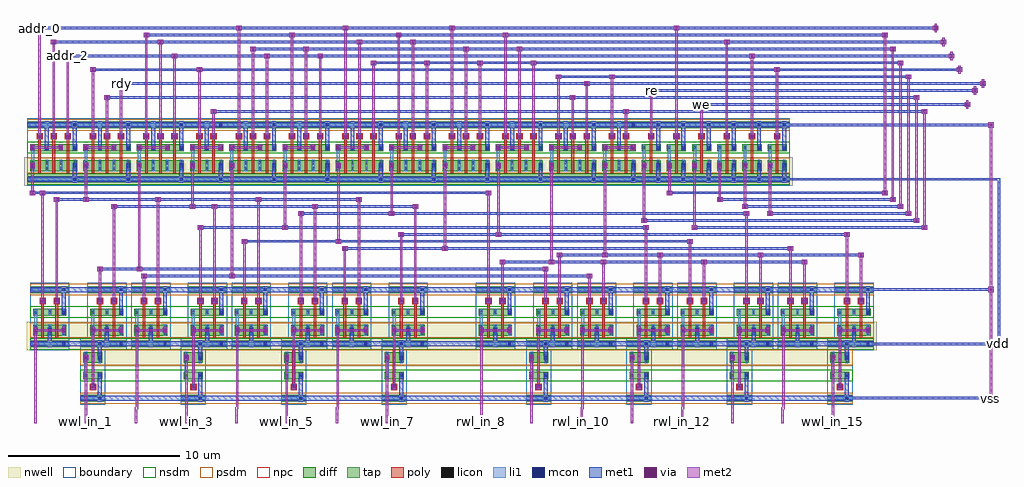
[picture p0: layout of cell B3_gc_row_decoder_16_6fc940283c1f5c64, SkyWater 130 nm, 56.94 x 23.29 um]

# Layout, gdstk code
from math import pi, radians
import gdstk
lib = gdstk.Library(unit=1e-6, precision=1e-09)
def R(c, l, rs):  # rectangles x0, y0, x1, y1
    for r in rs: c.add(gdstk.rectangle(r[:2], r[2:], *l))
def A(c, l, x, y, w, h, nx, ny, dx, dy):  # array of equal rectangles
    R(c, l, [(x+i*dx, y+j*dy, x+i*dx+w, y+j*dy+h) for i in range(nx) for j in range(ny)])
nwell = (64, 20)
diff = (65, 20)
tap = (65, 44)
poly = (66, 20)
licon = (66, 44)
li1 = (67, 20)
mcon = (67, 44)
met1 = (68, 20)
via = (68, 44)
met2 = (69, 20)
nsdm = (93, 44)
psdm = (94, 20)
npc = (95, 20)
boundary = (235, 4)

b3_gc_std_inv_6575c8c08e = lib.new_cell('B3_gc_std_inv_6575c8c08eee_t_core')
R(b3_gc_std_inv_6575c8c08e, nwell, [(0,-0.18,1.68,1.29)])
R(b3_gc_std_inv_6575c8c08e, diff, [(0.86,0,1.5,1.11), (2.02,0,2.44,1.11)])
R(b3_gc_std_inv_6575c8c08e, tap, [(0.18,-0.18,0.59,1.29), (3.35,-0.18,3.76,1.29)])
R(b3_gc_std_inv_6575c8c08e, poly, [(2.73,0.39,3.06,0.72), (0.73,0.48,1.63,0.63), (0.86,0.48,2.895,0.63), (1.89,0.48,2.57,0.63)])
R(b3_gc_std_inv_6575c8c08e, licon, [(0.3,0.06,0.47,0.23), (0.925,0.06,1.095,0.23), (1.265,0.06,1.435,0.23), (2.145,0.06,2.315,0.23), (3.47,0.06,3.64,0.23), (2.81,0.47,2.98,0.64), (0.925,0.88,1.095,1.05), (1.265,0.88,1.435,1.05), (2.145,0.88,2.315,1.05)])
R(b3_gc_std_inv_6575c8c08e, li1, [(0.3,-0.18,0.47,1.29), (3.47,-0.18,3.64,1.29), (0.845,0.06,1.515,0.23), (2.065,0.06,2.395,0.23), (2.73,0.47,3.06,0.64), (2.73,0.47,3.06,0.64), (0.845,0.88,2.395,1.05), (0.845,0.88,1.515,1.05), (1.015,0.88,1.345,1.05), (2.065,0.88,2.395,1.05)])
R(b3_gc_std_inv_6575c8c08e, mcon, [(0.3,0.06,0.47,0.23), (1.095,0.06,1.265,0.23), (2.145,0.06,2.315,0.23), (3.47,0.06,3.64,0.23), (2.81,0.47,2.98,0.64), (1.095,0.88,1.265,1.05)])
R(b3_gc_std_inv_6575c8c08e, met1, [(0.24,-0.18,0.53,1.29), (3.41,-0.18,3.7,1.29), (0.24,0,0.53,0.29), (3.41,0,3.7,0.29), (0.18,0.03,1.325,0.26), (1.035,0.03,1.325,0.26), (2.085,0.03,3.76,0.26), (2.085,0.03,2.375,0.26), (2.735,0.425,3.055,0.685), (1.02,0.835,1.34,1.095)])
R(b3_gc_std_inv_6575c8c08e, via, [(2.82,0.48,2.97,0.63), (1.105,0.89,1.255,1.04)])
R(b3_gc_std_inv_6575c8c08e, met2, [(2.735,0.425,3.055,0.685), (1.02,0.835,1.34,1.095)])
R(b3_gc_std_inv_6575c8c08e, nsdm, [(0.055,-0.18,0.715,1.29), (1.895,-0.18,2.565,1.29)])
R(b3_gc_std_inv_6575c8c08e, psdm, [(0.735,-0.18,1.625,1.29), (3.225,-0.18,3.885,1.29)])
R(b3_gc_std_inv_6575c8c08e, npc, [(2.71,0.37,3.08,0.74)])
R(b3_gc_std_inv_6575c8c08e, boundary, [(0,-0.18,3.94,1.29)])
b3_gc_std_inv_6575c8c08e.add(gdstk.Label('vss', (3.555,0.145), layer=68, texttype=5))
b3_gc_std_inv_6575c8c08e.add(gdstk.Label('vdd', (0.385,0.145), layer=68, texttype=5))
b3_gc_std_inv_6575c8c08e.add(gdstk.Label('a', (2.895,0.555), layer=69, texttype=5))
b3_gc_std_inv_6575c8c08e.add(gdstk.Label('y', (1.18,0.965), layer=69, texttype=5))

c_b3_gc_std_inv_6575c8c08e = lib.new_cell('B3_gc_std_inv_6575c8c08eee_t')
c_b3_gc_std_inv_6575c8c08e.add(gdstk.Reference(b3_gc_std_inv_6575c8c08e, (1.29,0), rotation=pi/2))

b3_gc_std_nor2_6575c8c08 = lib.new_cell('B3_gc_std_nor2_6575c8c08eee_t_core')
R(b3_gc_std_nor2_6575c8c08, nwell, [(0,-0.18,1.68,2.11)])
R(b3_gc_std_nor2_6575c8c08, diff, [(0.86,0,1.5,1.93), (2.02,0,2.44,1.93)])
R(b3_gc_std_nor2_6575c8c08, tap, [(0.18,-0.18,0.59,2.11), (3.35,-0.18,3.76,2.11)])
R(b3_gc_std_nor2_6575c8c08, poly, [(2.73,0.39,3.06,0.72), (0.73,0.48,1.63,0.63), (0.86,0.48,2.895,0.63), (1.89,0.48,2.57,0.63), (2.73,1.21,3.06,1.54), (0.73,1.3,1.63,1.45), (0.86,1.3,2.895,1.45), (1.89,1.3,2.57,1.45)])
A(b3_gc_std_nor2_6575c8c08, licon, 0.925, 0.06, 0.17, 0.17, 1, 3, 0, 0.82)
A(b3_gc_std_nor2_6575c8c08, licon, 1.265, 0.06, 0.17, 0.17, 1, 3, 0, 0.82)
A(b3_gc_std_nor2_6575c8c08, licon, 2.145, 0.06, 0.17, 0.17, 1, 3, 0, 0.82)
R(b3_gc_std_nor2_6575c8c08, licon, [(0.3,0.06,0.47,0.23), (3.47,0.06,3.64,0.23), (2.81,0.47,2.98,0.64), (2.81,1.29,2.98,1.46)])
A(b3_gc_std_nor2_6575c8c08, li1, 0.845, 0.06, 0.67, 0.17, 1, 3, 0, 0.82)
A(b3_gc_std_nor2_6575c8c08, li1, 2.065, 0.06, 0.33, 0.17, 1, 3, 0, 0.82)
R(b3_gc_std_nor2_6575c8c08, li1, [(0.3,-0.18,0.47,2.11), (3.47,-0.18,3.64,2.11), (2.065,0.06,2.395,0.23), (2.73,0.47,3.06,0.64), (2.73,0.47,3.06,0.64), (2.73,1.29,3.06,1.46), (2.73,1.29,3.06,1.46), (0.845,1.7,2.395,1.87), (1.015,1.7,1.345,1.87), (2.065,1.7,2.395,1.87)])
A(b3_gc_std_nor2_6575c8c08, mcon, 2.145, 0.06, 0.17, 0.17, 1, 3, 0, 0.82)
R(b3_gc_std_nor2_6575c8c08, mcon, [(0.3,0.06,0.47,0.23), (1.095,0.06,1.265,0.23), (3.47,0.06,3.64,0.23), (2.81,0.47,2.98,0.64), (2.81,1.29,2.98,1.46), (1.095,1.7,1.265,1.87)])
R(b3_gc_std_nor2_6575c8c08, met1, [(0.24,-0.18,0.53,2.11), (3.41,-0.18,3.7,2.11), (0.24,0,0.53,0.29), (3.41,0,3.7,0.29), (2.07,0.015,2.39,0.275), (0.18,0.03,1.325,0.26), (1.035,0.03,1.325,0.26), (2.735,0.425,3.055,0.685), (2.085,0.85,3.76,1.08), (2.085,0.85,2.375,1.08), (2.735,1.245,3.055,1.505), (1.02,1.655,1.34,1.915), (2.07,1.655,2.39,1.915)])
R(b3_gc_std_nor2_6575c8c08, via, [(2.155,0.07,2.305,0.22), (2.82,0.48,2.97,0.63), (2.82,1.3,2.97,1.45), (1.105,1.71,1.255,1.86), (2.155,1.71,2.305,1.86)])
R(b3_gc_std_nor2_6575c8c08, met2, [(2.07,0.015,2.39,0.275), (2.16,0.145,2.3,1.785), (2.735,0.425,3.055,0.685), (2.735,1.245,3.055,1.505), (1.02,1.655,1.34,1.915), (2.07,1.655,2.39,1.915)])
R(b3_gc_std_nor2_6575c8c08, nsdm, [(0.055,-0.18,0.715,2.11), (1.895,-0.18,2.565,2.11)])
R(b3_gc_std_nor2_6575c8c08, psdm, [(0.735,-0.18,1.625,2.11), (3.225,-0.18,3.885,2.11)])
R(b3_gc_std_nor2_6575c8c08, npc, [(2.71,0.37,3.08,0.74), (2.71,1.19,3.08,1.56)])
R(b3_gc_std_nor2_6575c8c08, boundary, [(0,-0.18,3.94,2.11)])
b3_gc_std_nor2_6575c8c08.add(gdstk.Label('vss', (3.555,0.145), layer=68, texttype=5))
b3_gc_std_nor2_6575c8c08.add(gdstk.Label('vdd', (0.385,0.145), layer=68, texttype=5))
b3_gc_std_nor2_6575c8c08.add(gdstk.Label('a', (2.895,1.375), layer=69, texttype=5))
b3_gc_std_nor2_6575c8c08.add(gdstk.Label('b', (2.895,0.555), layer=69, texttype=5))
b3_gc_std_nor2_6575c8c08.add(gdstk.Label('y', (1.18,1.785), layer=69, texttype=5))

c_b3_gc_std_nor2_6575c8c08 = lib.new_cell('B3_gc_std_nor2_6575c8c08eee_t')
c_b3_gc_std_nor2_6575c8c08.add(gdstk.Reference(b3_gc_std_nor2_6575c8c08, (2.11,0), rotation=pi/2))

b3_gc_std_nor3_6575c8c08 = lib.new_cell('B3_gc_std_nor3_6575c8c08eee_t_core')
R(b3_gc_std_nor3_6575c8c08, nwell, [(0,-0.18,1.68,2.93)])
R(b3_gc_std_nor3_6575c8c08, diff, [(0.86,0,1.5,2.75), (2.02,0,2.44,2.75)])
R(b3_gc_std_nor3_6575c8c08, tap, [(0.18,-0.18,0.59,2.93), (3.35,-0.18,3.76,2.93)])
A(b3_gc_std_nor3_6575c8c08, poly, 2.73, 0.39, 0.33, 0.33, 1, 3, 0, 0.82)
A(b3_gc_std_nor3_6575c8c08, poly, 0.73, 0.48, 0.9, 0.15, 1, 3, 0, 0.82)
A(b3_gc_std_nor3_6575c8c08, poly, 0.86, 0.48, 2.035, 0.15, 1, 3, 0, 0.82)
A(b3_gc_std_nor3_6575c8c08, poly, 1.89, 0.48, 0.68, 0.15, 1, 3, 0, 0.82)
A(b3_gc_std_nor3_6575c8c08, licon, 0.925, 0.06, 0.17, 0.17, 1, 4, 0, 0.82)
A(b3_gc_std_nor3_6575c8c08, licon, 1.265, 0.06, 0.17, 0.17, 1, 4, 0, 0.82)
A(b3_gc_std_nor3_6575c8c08, licon, 2.145, 0.06, 0.17, 0.17, 1, 4, 0, 0.82)
A(b3_gc_std_nor3_6575c8c08, licon, 2.81, 0.47, 0.17, 0.17, 1, 3, 0, 0.82)
R(b3_gc_std_nor3_6575c8c08, licon, [(0.3,0.06,0.47,0.23), (3.47,0.06,3.64,0.23)])
A(b3_gc_std_nor3_6575c8c08, li1, 0.845, 0.06, 0.67, 0.17, 1, 4, 0, 0.82)
A(b3_gc_std_nor3_6575c8c08, li1, 2.065, 0.88, 0.33, 0.17, 1, 3, 0, 0.82)
R(b3_gc_std_nor3_6575c8c08, li1, [(0.3,-0.18,0.47,2.93), (3.47,-0.18,3.64,2.93), (2.065,0.06,2.395,0.23), (2.73,0.47,3.06,0.64), (2.73,0.47,3.06,0.64), (2.065,0.88,2.395,1.05), (2.73,1.29,3.06,1.46), (2.73,1.29,3.06,1.46), (2.73,2.11,3.06,2.28), (2.73,2.11,3.06,2.28), (0.845,2.52,2.395,2.69), (1.015,2.52,1.345,2.69), (2.065,2.52,2.395,2.69)])
A(b3_gc_std_nor3_6575c8c08, mcon, 2.145, 0.06, 0.17, 0.17, 1, 4, 0, 0.82)
A(b3_gc_std_nor3_6575c8c08, mcon, 2.81, 0.47, 0.17, 0.17, 1, 3, 0, 0.82)
R(b3_gc_std_nor3_6575c8c08, mcon, [(0.3,0.06,0.47,0.23), (1.095,0.06,1.265,0.23), (3.47,0.06,3.64,0.23), (1.095,2.52,1.265,2.69)])
A(b3_gc_std_nor3_6575c8c08, met1, 2.735, 0.425, 0.32, 0.26, 1, 3, 0, 0.82)
R(b3_gc_std_nor3_6575c8c08, met1, [(0.24,-0.18,0.53,2.93), (3.41,-0.18,3.7,2.93), (0.24,0,0.53,0.29), (3.41,0,3.7,0.29), (0.18,0.03,1.325,0.26), (1.035,0.03,1.325,0.26), (2.085,0.03,3.76,0.26), (2.085,0.03,2.375,0.26), (2.07,0.835,2.39,1.095), (2.085,1.67,3.76,1.9), (2.085,1.67,2.375,1.9), (1.02,2.475,1.34,2.735), (2.07,2.475,2.39,2.735)])
A(b3_gc_std_nor3_6575c8c08, via, 2.82, 0.48, 0.15, 0.15, 1, 3, 0, 0.82)
R(b3_gc_std_nor3_6575c8c08, via, [(2.155,0.89,2.305,1.04), (1.105,2.53,1.255,2.68), (2.155,2.53,2.305,2.68)])
A(b3_gc_std_nor3_6575c8c08, met2, 2.735, 0.425, 0.32, 0.26, 1, 3, 0, 0.82)
R(b3_gc_std_nor3_6575c8c08, met2, [(2.07,0.835,2.39,1.095), (2.16,0.965,2.3,2.605), (1.02,2.475,1.34,2.735), (2.07,2.475,2.39,2.735)])
R(b3_gc_std_nor3_6575c8c08, nsdm, [(0.055,-0.18,0.715,2.93), (1.895,-0.18,2.565,2.93)])
R(b3_gc_std_nor3_6575c8c08, psdm, [(0.735,-0.18,1.625,2.93), (3.225,-0.18,3.885,2.93)])
A(b3_gc_std_nor3_6575c8c08, npc, 2.71, 0.37, 0.37, 0.37, 1, 3, 0, 0.82)
R(b3_gc_std_nor3_6575c8c08, boundary, [(0,-0.18,3.94,2.93)])
b3_gc_std_nor3_6575c8c08.add(gdstk.Label('vss', (3.555,0.145), layer=68, texttype=5))
b3_gc_std_nor3_6575c8c08.add(gdstk.Label('vdd', (0.385,0.145), layer=68, texttype=5))
b3_gc_std_nor3_6575c8c08.add(gdstk.Label('a', (2.895,2.195), layer=69, texttype=5))
b3_gc_std_nor3_6575c8c08.add(gdstk.Label('c', (2.895,0.555), layer=69, texttype=5))
b3_gc_std_nor3_6575c8c08.add(gdstk.Label('b', (2.895,1.375), layer=69, texttype=5))
b3_gc_std_nor3_6575c8c08.add(gdstk.Label('y', (1.18,2.605), layer=69, texttype=5))

c_b3_gc_std_nor3_6575c8c08 = lib.new_cell('B3_gc_std_nor3_6575c8c08eee_t')
c_b3_gc_std_nor3_6575c8c08.add(gdstk.Reference(b3_gc_std_nor3_6575c8c08, (2.93,0), rotation=pi/2))

b3_gc_std_nand2_6575c8c0 = lib.new_cell('B3_gc_std_nand2_6575c8c08eee_t_core')
R(b3_gc_std_nand2_6575c8c0, nwell, [(0,-0.18,1.68,2.11)])
R(b3_gc_std_nand2_6575c8c0, diff, [(0.86,0,1.5,1.93), (2.02,0,2.44,1.93)])
R(b3_gc_std_nand2_6575c8c0, tap, [(0.18,-0.18,0.59,2.11), (3.35,-0.18,3.76,2.11)])
R(b3_gc_std_nand2_6575c8c0, poly, [(2.73,0.39,3.06,0.72), (0.73,0.48,1.63,0.63), (0.86,0.48,2.895,0.63), (1.89,0.48,2.57,0.63), (2.73,1.21,3.06,1.54), (0.73,1.3,1.63,1.45), (0.86,1.3,2.895,1.45), (1.89,1.3,2.57,1.45)])
A(b3_gc_std_nand2_6575c8c0, licon, 0.925, 0.06, 0.17, 0.17, 1, 3, 0, 0.82)
A(b3_gc_std_nand2_6575c8c0, licon, 1.265, 0.06, 0.17, 0.17, 1, 3, 0, 0.82)
A(b3_gc_std_nand2_6575c8c0, licon, 2.145, 0.06, 0.17, 0.17, 1, 3, 0, 0.82)
R(b3_gc_std_nand2_6575c8c0, licon, [(0.3,0.06,0.47,0.23), (3.47,0.06,3.64,0.23), (2.81,0.47,2.98,0.64), (2.81,1.29,2.98,1.46)])
A(b3_gc_std_nand2_6575c8c0, li1, 0.845, 0.06, 0.67, 0.17, 1, 3, 0, 0.82)
A(b3_gc_std_nand2_6575c8c0, li1, 2.065, 0.06, 0.33, 0.17, 1, 3, 0, 0.82)
R(b3_gc_std_nand2_6575c8c0, li1, [(0.3,-0.18,0.47,2.11), (3.47,-0.18,3.64,2.11), (1.015,0.06,1.345,0.23), (2.73,0.47,3.06,0.64), (2.73,0.47,3.06,0.64), (2.73,1.29,3.06,1.46), (2.73,1.29,3.06,1.46), (0.845,1.7,2.395,1.87), (1.015,1.7,1.345,1.87)])
A(b3_gc_std_nand2_6575c8c0, mcon, 1.095, 0.06, 0.17, 0.17, 1, 3, 0, 0.82)
R(b3_gc_std_nand2_6575c8c0, mcon, [(0.3,0.06,0.47,0.23), (2.145,0.06,2.315,0.23), (3.47,0.06,3.64,0.23), (2.81,0.47,2.98,0.64), (2.81,1.29,2.98,1.46)])
R(b3_gc_std_nand2_6575c8c0, met1, [(0.24,-0.18,0.53,2.11), (3.41,-0.18,3.7,2.11), (0.24,0,0.53,0.29), (3.41,0,3.7,0.29), (1.02,0.015,1.34,0.275), (2.085,0.03,3.76,0.26), (2.085,0.03,2.375,0.26), (2.735,0.425,3.055,0.685), (0.18,0.85,1.325,1.08), (1.035,0.85,1.325,1.08), (2.735,1.245,3.055,1.505), (1.02,1.655,1.34,1.915)])
R(b3_gc_std_nand2_6575c8c0, via, [(1.105,0.07,1.255,0.22), (2.82,0.48,2.97,0.63), (2.82,1.3,2.97,1.45), (1.105,1.71,1.255,1.86)])
R(b3_gc_std_nand2_6575c8c0, met2, [(1.02,0.015,1.34,0.275), (1.11,0.145,1.25,1.785), (2.735,0.425,3.055,0.685), (2.735,1.245,3.055,1.505), (1.02,1.655,1.34,1.915)])
R(b3_gc_std_nand2_6575c8c0, nsdm, [(0.055,-0.18,0.715,2.11), (1.895,-0.18,2.565,2.11)])
R(b3_gc_std_nand2_6575c8c0, psdm, [(0.735,-0.18,1.625,2.11), (3.225,-0.18,3.885,2.11)])
R(b3_gc_std_nand2_6575c8c0, npc, [(2.71,0.37,3.08,0.74), (2.71,1.19,3.08,1.56)])
R(b3_gc_std_nand2_6575c8c0, boundary, [(0,-0.18,3.94,2.11)])
b3_gc_std_nand2_6575c8c0.add(gdstk.Label('vss', (3.555,0.145), layer=68, texttype=5))
b3_gc_std_nand2_6575c8c0.add(gdstk.Label('vdd', (0.385,0.145), layer=68, texttype=5))
b3_gc_std_nand2_6575c8c0.add(gdstk.Label('a', (2.895,1.375), layer=69, texttype=5))
b3_gc_std_nand2_6575c8c0.add(gdstk.Label('b', (2.895,0.555), layer=69, texttype=5))
b3_gc_std_nand2_6575c8c0.add(gdstk.Label('y', (1.18,1.785), layer=69, texttype=5))

c_b3_gc_std_nand2_6575c8c0 = lib.new_cell('B3_gc_std_nand2_6575c8c08eee_t')
c_b3_gc_std_nand2_6575c8c0.add(gdstk.Reference(b3_gc_std_nand2_6575c8c0, (2.11,0), rotation=pi/2))

b3_gc_row_decoder_16_6fc = lib.new_cell('B3_gc_row_decoder_16_6fc940283c1f5c64')
A(b3_gc_row_decoder_16_6fc, nwell, 4.575, 2.66, 4.39, 1.68, 3, 1, 5.86, 0)
A(b3_gc_row_decoder_16_6fc, nwell, 30.58, 2.66, 4.39, 1.68, 3, 1, 5.86, 0)
A(b3_gc_row_decoder_16_6fc, nwell, 5.805, 3.57, 0.275, 1.68, 3, 1, 5.86, 0)
A(b3_gc_row_decoder_16_6fc, nwell, 8.37, 3.57, 1.005, 1.68, 3, 1, 5.86, 0)
A(b3_gc_row_decoder_16_6fc, nwell, 31.81, 3.57, 0.275, 1.68, 3, 1, 5.86, 0)
A(b3_gc_row_decoder_16_6fc, nwell, 34.375, 3.57, 1.005, 1.68, 3, 1, 5.86, 0)
R(b3_gc_row_decoder_16_6fc, nwell, [(22.155,2.66,29.11,4.34), (-0.005,3.57,0.175,5.25), (2.465,3.57,3.515,5.25), (23.385,3.57,26.18,5.25), (28.47,3.57,29.52,5.25), (49.39,3.57,49.57,5.25), (-0.18,13.175,0,14.855), (44.5,13.175,44.68,14.855)])
A(b3_gc_row_decoder_16_6fc, met1, 4.475, 0.64, 4.59, 0.29, 3, 2, 5.86, 3.17)
A(b3_gc_row_decoder_16_6fc, met1, 30.48, 0.64, 4.59, 0.29, 3, 2, 5.86, 3.17)
A(b3_gc_row_decoder_16_6fc, met1, 5.705, 3.81, 0.475, 0.29, 3, 2, 5.86, 3.17)
A(b3_gc_row_decoder_16_6fc, met1, 8.27, 3.81, 1.205, 0.29, 3, 2, 5.86, 3.17)
A(b3_gc_row_decoder_16_6fc, met1, 31.71, 3.81, 0.475, 0.29, 3, 2, 5.86, 3.17)
A(b3_gc_row_decoder_16_6fc, met1, 34.275, 3.81, 1.205, 0.29, 3, 2, 5.86, 3.17)
A(b3_gc_row_decoder_16_6fc, met1, 33.48, 8.59, 0.32, 0.26, 3, 1, 5.86, 0)
A(b3_gc_row_decoder_16_6fc, met1, 36.775, 9, 0.32, 0.26, 3, 1, 5.86, 0)
A(b3_gc_row_decoder_16_6fc, met1, 10.77, 11.835, 0.32, 0.26, 3, 1, 5.86, 0)
A(b3_gc_row_decoder_16_6fc, met1, 7.475, 12.24, 0.32, 0.26, 3, 1, 5.86, 0)
A(b3_gc_row_decoder_16_6fc, met1, 20.055, 20.225, 0.32, 0.26, 4, 1, 3.11, 0)
A(b3_gc_row_decoder_16_6fc, met1, 15.305, 21.84, 0.32, 0.26, 3, 1, 6.22, 0)
A(b3_gc_row_decoder_16_6fc, met1, 12.195, 22.25, 0.32, 0.26, 3, 1, 6.22, 0)
R(b3_gc_row_decoder_16_6fc, met1, [(56.075,0.625,56.395,0.945), (22.055,0.64,29.21,0.93), (47.66,0.715,56.235,0.855), (2.365,3.81,3.615,4.1), (22.055,3.81,29.21,4.1), (23.285,3.81,26.28,4.1), (28.37,3.81,29.62,4.1), (47.66,3.885,56.765,4.025), (48.89,3.885,56.765,4.025), (56.625,3.885,56.765,13.63), (56.075,6.965,56.395,7.285), (2.365,6.98,3.615,7.27), (23.285,6.98,26.28,7.27), (28.37,6.98,29.62,7.27), (48.89,7.055,56.235,7.195), (6.655,7.785,6.975,8.045), (11.785,7.785,12.105,8.045), (32.66,7.785,32.98,8.045), (6.655,7.845,32.98,7.985), (4.09,8.19,4.41,8.45), (6.385,8.19,6.705,8.45), (30.095,8.19,30.415,8.45), (4.09,8.25,30.415,8.39), (27.575,8.59,27.895,8.85), (30.445,8.59,30.765,8.85), (27.575,8.65,45.52,8.79), (30.915,9,31.235,9.26), (33.555,9,33.875,9.26), (30.915,9.06,48.815,9.2), (18.375,9.4,18.695,9.66), (24.225,9.4,24.545,9.66), (44.38,9.4,44.7,9.66), (18.375,9.46,44.7,9.6), (12.515,9.81,12.835,10.07), (18.005,9.81,18.325,10.07), (38.52,9.81,38.84,10.07), (12.515,9.87,38.84,10.01), (21.67,10.21,21.99,10.47), (27.335,10.21,27.655,10.47), (47.675,10.21,47.995,10.47), (21.67,10.27,47.995,10.41), (9.95,10.62,10.27,10.88), (14.895,10.62,15.215,10.88), (35.955,10.62,36.275,10.88), (38.785,10.62,39.105,10.88), (52.19,10.62,52.51,10.88), (9.95,10.68,36.275,10.82), (38.785,10.68,52.51,10.82), (35.845,11.025,36.165,11.285), (51.73,11.025,52.05,11.285), (35.845,11.085,52.05,11.225), (15.81,11.43,16.13,11.69), (21.115,11.43,21.435,11.69), (41.815,11.43,42.135,11.69), (43.195,11.43,43.515,11.69), (51.27,11.43,51.59,11.69), (15.81,11.49,42.135,11.63), (43.195,11.49,51.59,11.63), (4.91,11.835,5.23,12.095), (9.495,11.835,9.815,12.095), (41.725,11.835,42.045,12.095), (50.81,11.835,51.13,12.095), (4.91,11.895,22.81,12.035), (41.725,11.895,51.13,12.035), (1.57,12.24,1.89,12.5), (3.275,12.24,3.595,12.5), (40.255,12.24,40.575,12.5), (50.35,12.24,50.67,12.5), (1.57,12.3,19.515,12.44), (40.255,12.3,50.67,12.44), (0.165,12.64,0.485,12.9), (0.75,12.64,1.07,12.9), (26.755,12.64,27.075,12.9), (37.315,12.64,37.635,12.9), (49.89,12.64,50.21,12.9), (0.165,12.7,27.075,12.84), (37.315,12.7,50.21,12.84), (44,13.49,56.765,13.63), (56.075,16.57,56.395,16.89), (44,16.66,56.235,16.8), (10.725,17.39,11.045,17.65), (34.785,17.39,35.105,17.65), (52.19,17.39,52.51,17.65), (10.725,17.45,52.51,17.59), (39.195,17.79,39.515,18.05), (54.695,17.79,55.015,18.05), (39.195,17.85,55.015,17.99), (4.505,18.2,4.825,18.46), (31.675,18.2,31.995,18.46), (51.73,18.2,52.05,18.46), (4.505,18.26,52.05,18.4), (36.255,18.605,36.575,18.865), (55.155,18.605,55.475,18.865), (36.255,18.665,55.475,18.805), (5.325,19.01,5.645,19.27), (32.495,19.01,32.815,19.27), (55.615,19.01,55.935,19.27), (5.325,19.07,55.935,19.21), (30.855,19.41,31.175,19.67), (33.965,19.41,34.285,19.67), (51.27,19.41,51.59,19.67), (30.855,19.47,51.59,19.61), (3.685,19.82,4.005,20.08), (9.905,19.82,10.225,20.08), (43.605,19.82,43.925,20.08), (54.235,19.82,54.555,20.08), (3.685,19.88,54.555,20.02), (50.81,20.225,51.13,20.485), (20.055,20.285,51.13,20.425), (2.215,20.63,2.535,20.89), (8.435,20.63,8.755,20.89), (13.835,20.63,14.155,20.89), (16.945,20.63,17.265,20.89), (42.135,20.63,42.455,20.89), (53.775,20.63,54.095,20.89), (2.215,20.69,54.095,20.83), (13.015,21.03,13.335,21.29), (16.125,21.03,16.445,21.29), (25.455,21.03,25.775,21.29), (28.565,21.03,28.885,21.29), (50.35,21.03,50.67,21.29), (13.015,21.09,50.67,21.23), (1.395,21.44,1.715,21.7), (7.615,21.44,7.935,21.7), (19.235,21.44,19.555,21.7), (22.345,21.44,22.665,21.7), (40.665,21.44,40.985,21.7), (53.315,21.44,53.635,21.7), (1.395,21.5,53.635,21.64), (6.795,21.84,7.115,22.1), (49.89,21.84,50.21,22.1), (6.795,21.9,50.21,22.04), (0.575,22.25,0.895,22.51), (37.725,22.25,38.045,22.51), (52.855,22.25,53.175,22.51), (0.575,22.31,53.175,22.45)])
A(b3_gc_row_decoder_16_6fc, via, 33.565, 8.645, 0.15, 0.15, 3, 1, 5.86, 0)
A(b3_gc_row_decoder_16_6fc, via, 36.86, 9.055, 0.15, 0.15, 3, 1, 5.86, 0)
A(b3_gc_row_decoder_16_6fc, via, 10.855, 11.89, 0.15, 0.15, 3, 1, 5.86, 0)
A(b3_gc_row_decoder_16_6fc, via, 7.56, 12.295, 0.15, 0.15, 3, 1, 5.86, 0)
A(b3_gc_row_decoder_16_6fc, via, 20.14, 20.28, 0.15, 0.15, 4, 1, 3.11, 0)
A(b3_gc_row_decoder_16_6fc, via, 15.39, 21.895, 0.15, 0.15, 3, 1, 6.22, 0)
A(b3_gc_row_decoder_16_6fc, via, 12.28, 22.305, 0.15, 0.15, 3, 1, 6.22, 0)
R(b3_gc_row_decoder_16_6fc, via, [(56.16,0.71,56.31,0.86), (56.16,7.05,56.31,7.2), (6.74,7.84,6.89,7.99), (11.87,7.84,12.02,7.99), (32.745,7.84,32.895,7.99), (4.175,8.245,4.325,8.395), (6.47,8.245,6.62,8.395), (30.18,8.245,30.33,8.395), (27.66,8.645,27.81,8.795), (30.53,8.645,30.68,8.795), (31,9.055,31.15,9.205), (33.64,9.055,33.79,9.205), (18.46,9.455,18.61,9.605), (24.31,9.455,24.46,9.605), (44.465,9.455,44.615,9.605), (12.6,9.865,12.75,10.015), (18.09,9.865,18.24,10.015), (38.605,9.865,38.755,10.015), (21.755,10.265,21.905,10.415), (27.42,10.265,27.57,10.415), (47.76,10.265,47.91,10.415), (10.035,10.675,10.185,10.825), (14.98,10.675,15.13,10.825), (36.04,10.675,36.19,10.825), (38.87,10.675,39.02,10.825), (52.275,10.675,52.425,10.825), (35.93,11.08,36.08,11.23), (51.815,11.08,51.965,11.23), (15.895,11.485,16.045,11.635), (21.2,11.485,21.35,11.635), (41.9,11.485,42.05,11.635), (43.28,11.485,43.43,11.635), (51.355,11.485,51.505,11.635), (4.995,11.89,5.145,12.04), (9.58,11.89,9.73,12.04), (41.81,11.89,41.96,12.04), (50.895,11.89,51.045,12.04), (1.655,12.295,1.805,12.445), (3.36,12.295,3.51,12.445), (40.34,12.295,40.49,12.445), (50.435,12.295,50.585,12.445), (0.25,12.695,0.4,12.845), (0.835,12.695,0.985,12.845), (26.84,12.695,26.99,12.845), (37.4,12.695,37.55,12.845), (49.975,12.695,50.125,12.845), (56.16,16.655,56.31,16.805), (10.81,17.445,10.96,17.595), (34.87,17.445,35.02,17.595), (52.275,17.445,52.425,17.595), (39.28,17.845,39.43,17.995), (54.78,17.845,54.93,17.995), (4.59,18.255,4.74,18.405), (31.76,18.255,31.91,18.405), (51.815,18.255,51.965,18.405), (36.34,18.66,36.49,18.81), (55.24,18.66,55.39,18.81), (5.41,19.065,5.56,19.215), (32.58,19.065,32.73,19.215), (55.7,19.065,55.85,19.215), (30.94,19.465,31.09,19.615), (34.05,19.465,34.2,19.615), (51.355,19.465,51.505,19.615), (3.77,19.875,3.92,20.025), (9.99,19.875,10.14,20.025), (43.69,19.875,43.84,20.025), (54.32,19.875,54.47,20.025), (50.895,20.28,51.045,20.43), (2.3,20.685,2.45,20.835), (8.52,20.685,8.67,20.835), (13.92,20.685,14.07,20.835), (17.03,20.685,17.18,20.835), (42.22,20.685,42.37,20.835), (53.86,20.685,54.01,20.835), (13.1,21.085,13.25,21.235), (16.21,21.085,16.36,21.235), (25.54,21.085,25.69,21.235), (28.65,21.085,28.8,21.235), (50.435,21.085,50.585,21.235), (1.48,21.495,1.63,21.645), (7.7,21.495,7.85,21.645), (19.32,21.495,19.47,21.645), (22.43,21.495,22.58,21.645), (40.75,21.495,40.9,21.645), (53.4,21.495,53.55,21.645), (6.88,21.895,7.03,22.045), (49.975,21.895,50.125,22.045), (0.66,22.305,0.81,22.455), (37.81,22.305,37.96,22.455), (52.94,22.305,53.09,22.455)])
A(b3_gc_row_decoder_16_6fc, met2, 3.36, -0.67, 0.14, 3.9, 4, 1, 5.86, 0)
A(b3_gc_row_decoder_16_6fc, met2, 6.29, -0.67, 0.14, 0.94, 3, 1, 5.86, 0)
A(b3_gc_row_decoder_16_6fc, met2, 29.365, -0.67, 0.14, 3.9, 4, 1, 5.86, 0)
A(b3_gc_row_decoder_16_6fc, met2, 32.295, -0.67, 0.14, 0.94, 3, 1, 5.86, 0)
A(b3_gc_row_decoder_16_6fc, met2, 6.29, 0.13, 0.185, 0.14, 3, 1, 5.86, 0)
A(b3_gc_row_decoder_16_6fc, met2, 6.335, 0.13, 0.14, 4.69, 3, 1, 5.86, 0)
A(b3_gc_row_decoder_16_6fc, met2, 32.295, 0.13, 0.185, 0.14, 3, 1, 5.86, 0)
A(b3_gc_row_decoder_16_6fc, met2, 32.34, 0.13, 0.14, 4.69, 3, 1, 5.86, 0)
A(b3_gc_row_decoder_16_6fc, met2, 3.77, 1.375, 0.14, 3.445, 4, 1, 5.86, 0)
A(b3_gc_row_decoder_16_6fc, met2, 29.775, 1.375, 0.14, 3.445, 4, 1, 5.86, 0)
A(b3_gc_row_decoder_16_6fc, met2, 5, 6.465, 0.14, 5.5, 4, 1, 5.86, 0)
A(b3_gc_row_decoder_16_6fc, met2, 7.565, 6.465, 0.14, 5.905, 3, 1, 5.86, 0)
A(b3_gc_row_decoder_16_6fc, met2, 31.005, 6.465, 0.14, 2.665, 4, 1, 5.86, 0)
A(b3_gc_row_decoder_16_6fc, met2, 33.57, 6.465, 0.14, 2.255, 3, 1, 5.86, 0)
A(b3_gc_row_decoder_16_6fc, met2, 33.48, 8.59, 0.32, 0.26, 3, 1, 5.86, 0)
A(b3_gc_row_decoder_16_6fc, met2, 36.775, 9, 0.32, 0.26, 3, 1, 5.86, 0)
A(b3_gc_row_decoder_16_6fc, met2, 10.77, 11.835, 0.32, 0.26, 3, 1, 5.86, 0)
A(b3_gc_row_decoder_16_6fc, met2, 7.475, 12.24, 0.32, 0.26, 3, 1, 5.86, 0)
A(b3_gc_row_decoder_16_6fc, met2, 12.285, 16.07, 0.14, 6.31, 3, 1, 6.22, 0)
A(b3_gc_row_decoder_16_6fc, met2, 15.395, 16.07, 0.14, 5.9, 3, 1, 6.22, 0)
A(b3_gc_row_decoder_16_6fc, met2, 20.145, 16.07, 0.14, 4.285, 4, 1, 3.11, 0)
A(b3_gc_row_decoder_16_6fc, met2, 20.055, 20.225, 0.32, 0.26, 4, 1, 3.11, 0)
A(b3_gc_row_decoder_16_6fc, met2, 15.305, 21.84, 0.32, 0.26, 3, 1, 6.22, 0)
A(b3_gc_row_decoder_16_6fc, met2, 12.195, 22.25, 0.32, 0.26, 3, 1, 6.22, 0)
R(b3_gc_row_decoder_16_6fc, met2, [(0.43,-0.67,0.57,4.82), (26.435,-0.67,26.575,4.82), (56.075,0.625,56.395,0.945), (56.165,0.785,56.305,16.73), (0.84,6.465,0.98,12.77), (1.66,6.465,1.8,12.37), (4.18,6.465,4.32,8.32), (6.745,6.465,6.885,7.915), (10.04,6.465,10.18,10.75), (12.605,6.465,12.745,9.94), (15.9,6.465,16.04,11.56), (18.465,6.465,18.605,9.53), (21.76,6.465,21.9,10.34), (26.845,6.465,26.985,12.77), (27.665,6.465,27.805,8.72), (30.185,6.465,30.325,8.32), (32.75,6.465,32.89,7.915), (36.045,6.465,36.185,10.75), (38.61,6.465,38.75,9.94), (41.905,6.465,42.045,11.56), (44.47,6.465,44.61,9.53), (47.765,6.465,47.905,10.34), (56.075,6.965,56.395,7.285), (6.655,7.785,6.975,8.045), (11.785,7.785,12.105,8.045), (32.66,7.785,32.98,8.045), (11.875,7.915,12.015,14.355), (4.09,8.19,4.41,8.45), (6.385,8.19,6.705,8.45), (30.095,8.19,30.415,8.45), (6.475,8.32,6.615,14.355), (27.575,8.59,27.895,8.85), (30.445,8.59,30.765,8.85), (30.535,8.72,30.675,14.355), (30.915,9,31.235,9.26), (33.555,9,33.875,9.26), (33.645,9.13,33.785,14.355), (18.375,9.4,18.695,9.66), (24.225,9.4,24.545,9.66), (44.38,9.4,44.7,9.66), (24.315,9.53,24.455,14.355), (12.515,9.81,12.835,10.07), (18.005,9.81,18.325,10.07), (38.52,9.81,38.84,10.07), (18.095,9.94,18.235,14.355), (21.67,10.21,21.99,10.47), (27.335,10.21,27.655,10.47), (47.675,10.21,47.995,10.47), (27.425,10.34,27.565,14.355), (9.95,10.62,10.27,10.88), (14.895,10.62,15.215,10.88), (35.955,10.62,36.275,10.88), (38.785,10.62,39.105,10.88), (52.19,10.62,52.51,10.88), (14.985,10.75,15.125,14.355), (38.875,10.75,39.015,14.355), (52.28,10.75,52.42,17.52), (35.845,11.025,36.165,11.285), (51.73,11.025,52.05,11.285), (35.935,11.155,36.075,14.355), (51.82,11.155,51.96,18.33), (15.81,11.43,16.13,11.69), (21.115,11.43,21.435,11.69), (41.815,11.43,42.135,11.69), (43.195,11.43,43.515,11.69), (51.27,11.43,51.59,11.69), (21.205,11.56,21.345,14.355), (43.285,11.56,43.425,14.355), (51.36,11.56,51.5,19.54), (4.91,11.835,5.23,12.095), (9.495,11.835,9.815,12.095), (41.725,11.835,42.045,12.095), (50.81,11.835,51.13,12.095), (9.585,11.965,9.725,14.355), (41.815,11.965,41.955,14.355), (50.9,11.965,51.04,20.355), (1.57,12.24,1.89,12.5), (3.275,12.24,3.595,12.5), (40.255,12.24,40.575,12.5), (50.35,12.24,50.67,12.5), (3.365,12.37,3.505,14.355), (40.345,12.37,40.485,14.355), (50.44,12.37,50.58,21.16), (0.165,12.64,0.485,12.9), (0.75,12.64,1.07,12.9), (26.755,12.64,27.075,12.9), (37.315,12.64,37.635,12.9), (49.89,12.64,50.21,12.9), (0.255,12.77,0.395,14.355), (37.405,12.77,37.545,14.355), (49.98,12.77,50.12,21.97), (0.665,16.07,0.805,22.38), (1.485,16.07,1.625,21.57), (2.305,16.07,2.445,20.76), (3.775,16.07,3.915,19.95), (4.595,16.07,4.735,18.33), (5.415,16.07,5.555,19.14), (6.885,16.07,7.025,21.97), (7.705,16.07,7.845,21.57), (8.525,16.07,8.665,20.76), (9.995,16.07,10.135,19.95), (10.815,16.07,10.955,17.52), (13.105,16.07,13.245,21.16), (13.925,16.07,14.065,20.76), (16.215,16.07,16.355,21.16), (17.035,16.07,17.175,20.76), (19.325,16.07,19.465,21.57), (22.435,16.07,22.575,21.57), (25.545,16.07,25.685,21.16), (28.655,16.07,28.795,21.16), (30.945,16.07,31.085,19.54), (31.765,16.07,31.905,18.33), (32.585,16.07,32.725,19.14), (34.055,16.07,34.195,19.54), (34.875,16.07,35.015,17.52), (36.345,16.07,36.485,18.735), (37.815,16.07,37.955,22.38), (39.285,16.07,39.425,17.92), (40.755,16.07,40.895,21.57), (42.225,16.07,42.365,20.76), (43.695,16.07,43.835,19.95), (56.075,16.57,56.395,16.89), (10.725,17.39,11.045,17.65), (34.785,17.39,35.105,17.65), (52.19,17.39,52.51,17.65), (54.785,17.675,54.925,18.165), (39.195,17.79,39.515,18.05), (54.695,17.79,55.015,18.05), (4.505,18.2,4.825,18.46), (31.675,18.2,31.995,18.46), (51.73,18.2,52.05,18.46), (55.245,18.49,55.385,18.98), (36.255,18.605,36.575,18.865), (55.155,18.605,55.475,18.865), (55.705,18.895,55.845,19.385), (5.325,19.01,5.645,19.27), (32.495,19.01,32.815,19.27), (55.615,19.01,55.935,19.27), (30.855,19.41,31.175,19.67), (33.965,19.41,34.285,19.67), (51.27,19.41,51.59,19.67), (54.325,19.705,54.465,20.195), (3.685,19.82,4.005,20.08), (9.905,19.82,10.225,20.08), (43.605,19.82,43.925,20.08), (54.235,19.82,54.555,20.08), (50.81,20.225,51.13,20.485), (53.865,20.515,54.005,21.005), (2.215,20.63,2.535,20.89), (8.435,20.63,8.755,20.89), (13.835,20.63,14.155,20.89), (16.945,20.63,17.265,20.89), (42.135,20.63,42.455,20.89), (53.775,20.63,54.095,20.89), (13.015,21.03,13.335,21.29), (16.125,21.03,16.445,21.29), (25.455,21.03,25.775,21.29), (28.565,21.03,28.885,21.29), (50.35,21.03,50.67,21.29), (53.405,21.325,53.545,21.815), (1.395,21.44,1.715,21.7), (7.615,21.44,7.935,21.7), (19.235,21.44,19.555,21.7), (22.345,21.44,22.665,21.7), (40.665,21.44,40.985,21.7), (53.315,21.44,53.635,21.7), (6.795,21.84,7.115,22.1), (49.89,21.84,50.21,22.1), (52.945,22.135,53.085,22.625), (0.575,22.25,0.895,22.51), (37.725,22.25,38.045,22.51), (52.855,22.25,53.175,22.51)])
A(b3_gc_row_decoder_16_6fc, nsdm, 4.575, 1.775, 4.39, 0.67, 3, 1, 5.86, 0)
A(b3_gc_row_decoder_16_6fc, nsdm, 30.58, 1.775, 4.39, 0.67, 3, 1, 5.86, 0)
A(b3_gc_row_decoder_16_6fc, nsdm, 4.575, 3.625, 4.39, 0.66, 3, 1, 5.86, 0)
A(b3_gc_row_decoder_16_6fc, nsdm, 5.805, 3.625, 0.275, 0.66, 3, 1, 5.86, 0)
A(b3_gc_row_decoder_16_6fc, nsdm, 8.37, 3.625, 1.005, 0.66, 3, 1, 5.86, 0)
A(b3_gc_row_decoder_16_6fc, nsdm, 30.58, 3.625, 4.39, 0.66, 3, 1, 5.86, 0)
A(b3_gc_row_decoder_16_6fc, nsdm, 31.81, 3.625, 0.275, 0.66, 3, 1, 5.86, 0)
A(b3_gc_row_decoder_16_6fc, nsdm, 34.375, 3.625, 1.005, 0.66, 3, 1, 5.86, 0)
A(b3_gc_row_decoder_16_6fc, nsdm, 5.805, 5.465, 0.275, 0.67, 3, 1, 5.86, 0)
A(b3_gc_row_decoder_16_6fc, nsdm, 8.37, 5.465, 1.005, 0.67, 3, 1, 5.86, 0)
A(b3_gc_row_decoder_16_6fc, nsdm, 31.81, 5.465, 0.275, 0.67, 3, 1, 5.86, 0)
A(b3_gc_row_decoder_16_6fc, nsdm, 34.375, 5.465, 1.005, 0.67, 3, 1, 5.86, 0)
R(b3_gc_row_decoder_16_6fc, nsdm, [(22.155,1.775,29.11,2.445), (2.465,3.625,3.515,4.285), (22.155,3.625,29.11,4.285), (23.385,3.625,26.18,4.285), (28.47,3.625,29.52,4.285), (2.465,5.465,3.515,6.135), (23.385,5.465,26.18,6.135), (28.47,5.465,29.52,6.135)])
A(b3_gc_row_decoder_16_6fc, psdm, 4.575, 0.455, 4.39, 0.66, 3, 1, 5.86, 0)
A(b3_gc_row_decoder_16_6fc, psdm, 30.58, 0.455, 4.39, 0.66, 3, 1, 5.86, 0)
A(b3_gc_row_decoder_16_6fc, psdm, 4.575, 2.715, 4.39, 0.89, 3, 1, 5.86, 0)
A(b3_gc_row_decoder_16_6fc, psdm, 30.58, 2.715, 4.39, 0.89, 3, 1, 5.86, 0)
A(b3_gc_row_decoder_16_6fc, psdm, 5.805, 4.305, 0.275, 0.89, 3, 1, 5.86, 0)
A(b3_gc_row_decoder_16_6fc, psdm, 8.37, 4.305, 1.005, 0.89, 3, 1, 5.86, 0)
A(b3_gc_row_decoder_16_6fc, psdm, 31.81, 4.305, 0.275, 0.89, 3, 1, 5.86, 0)
A(b3_gc_row_decoder_16_6fc, psdm, 34.375, 4.305, 1.005, 0.89, 3, 1, 5.86, 0)
A(b3_gc_row_decoder_16_6fc, psdm, 5.805, 6.795, 0.275, 0.66, 3, 1, 5.86, 0)
A(b3_gc_row_decoder_16_6fc, psdm, 8.37, 6.795, 1.005, 0.66, 3, 1, 5.86, 0)
A(b3_gc_row_decoder_16_6fc, psdm, 31.81, 6.795, 0.275, 0.66, 3, 1, 5.86, 0)
A(b3_gc_row_decoder_16_6fc, psdm, 34.375, 6.795, 1.005, 0.66, 3, 1, 5.86, 0)
R(b3_gc_row_decoder_16_6fc, psdm, [(22.155,0.455,29.11,1.115), (22.155,2.715,29.11,3.605), (2.465,4.305,3.515,5.195), (23.385,4.305,26.18,5.195), (28.47,4.305,29.52,5.195), (2.465,6.795,3.515,7.455), (23.385,6.795,26.18,7.455), (28.47,6.795,29.52,7.455)])
b3_gc_row_decoder_16_6fc.add(gdstk.Reference(c_b3_gc_std_inv_6575c8c08e, (35.68,13.175)))
b3_gc_row_decoder_16_6fc.add(gdstk.Reference(c_b3_gc_std_inv_6575c8c08e, (37.15,13.175)))
b3_gc_row_decoder_16_6fc.add(gdstk.Reference(c_b3_gc_std_inv_6575c8c08e, (38.62,13.175)))
b3_gc_row_decoder_16_6fc.add(gdstk.Reference(c_b3_gc_std_inv_6575c8c08e, (40.09,13.175)))
b3_gc_row_decoder_16_6fc.add(gdstk.Reference(c_b3_gc_std_inv_6575c8c08e, (41.56,13.175)))
b3_gc_row_decoder_16_6fc.add(gdstk.Reference(c_b3_gc_std_inv_6575c8c08e, (43.03,13.175)))
b3_gc_row_decoder_16_6fc.add(gdstk.Reference(c_b3_gc_std_nor2_6575c8c08, (9.33,13.175)))
b3_gc_row_decoder_16_6fc.add(gdstk.Reference(c_b3_gc_std_nor2_6575c8c08, (33.39,13.175)))
b3_gc_row_decoder_16_6fc.add(gdstk.Reference(c_b3_gc_std_nor3_6575c8c08, (0,13.175)))
b3_gc_row_decoder_16_6fc.add(gdstk.Reference(c_b3_gc_std_nor3_6575c8c08, (3.11,13.175)))
b3_gc_row_decoder_16_6fc.add(gdstk.Reference(c_b3_gc_std_nor3_6575c8c08, (6.22,13.175)))
b3_gc_row_decoder_16_6fc.add(gdstk.Reference(c_b3_gc_std_nor3_6575c8c08, (11.62,13.175)))
b3_gc_row_decoder_16_6fc.add(gdstk.Reference(c_b3_gc_std_nor3_6575c8c08, (14.73,13.175)))
b3_gc_row_decoder_16_6fc.add(gdstk.Reference(c_b3_gc_std_nor3_6575c8c08, (17.84,13.175)))
b3_gc_row_decoder_16_6fc.add(gdstk.Reference(c_b3_gc_std_nor3_6575c8c08, (20.95,13.175)))
b3_gc_row_decoder_16_6fc.add(gdstk.Reference(c_b3_gc_std_nor3_6575c8c08, (24.06,13.175)))
b3_gc_row_decoder_16_6fc.add(gdstk.Reference(c_b3_gc_std_nor3_6575c8c08, (27.17,13.175)))
b3_gc_row_decoder_16_6fc.add(gdstk.Reference(c_b3_gc_std_nor3_6575c8c08, (30.28,13.175)))
b3_gc_row_decoder_16_6fc.add(gdstk.Reference(c_b3_gc_std_nand2_6575c8c0, (0.175,3.57)))
b3_gc_row_decoder_16_6fc.add(gdstk.Reference(c_b3_gc_std_nand2_6575c8c0, (3.515,3.57)))
b3_gc_row_decoder_16_6fc.add(gdstk.Reference(c_b3_gc_std_nand2_6575c8c0, (6.08,3.57)))
b3_gc_row_decoder_16_6fc.add(gdstk.Reference(c_b3_gc_std_nand2_6575c8c0, (9.375,3.57)))
b3_gc_row_decoder_16_6fc.add(gdstk.Reference(c_b3_gc_std_nand2_6575c8c0, (11.94,3.57)))
b3_gc_row_decoder_16_6fc.add(gdstk.Reference(c_b3_gc_std_nand2_6575c8c0, (15.235,3.57)))
b3_gc_row_decoder_16_6fc.add(gdstk.Reference(c_b3_gc_std_nand2_6575c8c0, (17.8,3.57)))
b3_gc_row_decoder_16_6fc.add(gdstk.Reference(c_b3_gc_std_nand2_6575c8c0, (21.095,3.57)))
b3_gc_row_decoder_16_6fc.add(gdstk.Reference(c_b3_gc_std_nand2_6575c8c0, (26.18,3.57)))
b3_gc_row_decoder_16_6fc.add(gdstk.Reference(c_b3_gc_std_nand2_6575c8c0, (29.52,3.57)))
b3_gc_row_decoder_16_6fc.add(gdstk.Reference(c_b3_gc_std_nand2_6575c8c0, (32.085,3.57)))
b3_gc_row_decoder_16_6fc.add(gdstk.Reference(c_b3_gc_std_nand2_6575c8c0, (35.38,3.57)))
b3_gc_row_decoder_16_6fc.add(gdstk.Reference(c_b3_gc_std_nand2_6575c8c0, (37.945,3.57)))
b3_gc_row_decoder_16_6fc.add(gdstk.Reference(c_b3_gc_std_nand2_6575c8c0, (41.24,3.57)))
b3_gc_row_decoder_16_6fc.add(gdstk.Reference(c_b3_gc_std_nand2_6575c8c0, (43.805,3.57)))
b3_gc_row_decoder_16_6fc.add(gdstk.Reference(c_b3_gc_std_nand2_6575c8c0, (47.1,3.57)))
b3_gc_row_decoder_16_6fc.add(gdstk.Reference(c_b3_gc_std_inv_6575c8c08e, (3.105,4.34), x_reflection=True))
b3_gc_row_decoder_16_6fc.add(gdstk.Reference(c_b3_gc_std_inv_6575c8c08e, (8.965,4.34), x_reflection=True))
b3_gc_row_decoder_16_6fc.add(gdstk.Reference(c_b3_gc_std_inv_6575c8c08e, (14.825,4.34), x_reflection=True))
b3_gc_row_decoder_16_6fc.add(gdstk.Reference(c_b3_gc_std_inv_6575c8c08e, (20.685,4.34), x_reflection=True))
b3_gc_row_decoder_16_6fc.add(gdstk.Reference(c_b3_gc_std_inv_6575c8c08e, (29.11,4.34), x_reflection=True))
b3_gc_row_decoder_16_6fc.add(gdstk.Reference(c_b3_gc_std_inv_6575c8c08e, (34.97,4.34), x_reflection=True))
b3_gc_row_decoder_16_6fc.add(gdstk.Reference(c_b3_gc_std_inv_6575c8c08e, (40.83,4.34), x_reflection=True))
b3_gc_row_decoder_16_6fc.add(gdstk.Reference(c_b3_gc_std_inv_6575c8c08e, (46.69,4.34), x_reflection=True))
b3_gc_row_decoder_16_6fc.add(gdstk.Label('rdy', (5.485,19.14), layer=68, texttype=5))
b3_gc_row_decoder_16_6fc.add(gdstk.Label('we', (39.355,17.92), layer=68, texttype=5))
b3_gc_row_decoder_16_6fc.add(gdstk.Label('addr_3', (3.845,19.95), layer=68, texttype=5))
b3_gc_row_decoder_16_6fc.add(gdstk.Label('addr_2', (2.375,20.76), layer=68, texttype=5))
b3_gc_row_decoder_16_6fc.add(gdstk.Label('addr_1', (1.555,21.57), layer=68, texttype=5))
b3_gc_row_decoder_16_6fc.add(gdstk.Label('re', (36.415,18.735), layer=68, texttype=5))
b3_gc_row_decoder_16_6fc.add(gdstk.Label('addr_0', (0.735,22.38), layer=68, texttype=5))
b3_gc_row_decoder_16_6fc.add(gdstk.Label('vdd', (56.695,3.955), layer=68, texttype=5))
b3_gc_row_decoder_16_6fc.add(gdstk.Label('rwl_in_12', (38.225,-0.6), layer=69, texttype=5))
b3_gc_row_decoder_16_6fc.add(gdstk.Label('vss', (56.235,0.785), layer=69, texttype=5))
b3_gc_row_decoder_16_6fc.add(gdstk.Label('wwl_in_1', (3.43,-0.6), layer=69, texttype=5))
b3_gc_row_decoder_16_6fc.add(gdstk.Label('rwl_in_2', (6.36,-0.6), layer=69, texttype=5))
b3_gc_row_decoder_16_6fc.add(gdstk.Label('wwl_in_3', (9.29,-0.6), layer=69, texttype=5))
b3_gc_row_decoder_16_6fc.add(gdstk.Label('wwl_in_5', (15.15,-0.6), layer=69, texttype=5))
b3_gc_row_decoder_16_6fc.add(gdstk.Label('rwl_in_6', (18.08,-0.6), layer=69, texttype=5))
b3_gc_row_decoder_16_6fc.add(gdstk.Label('rwl_in_0', (0.5,-0.6), layer=69, texttype=5))
b3_gc_row_decoder_16_6fc.add(gdstk.Label('wwl_in_7', (21.01,-0.6), layer=69, texttype=5))
b3_gc_row_decoder_16_6fc.add(gdstk.Label('wwl_in_13', (41.155,-0.6), layer=69, texttype=5))
b3_gc_row_decoder_16_6fc.add(gdstk.Label('rwl_in_8', (26.505,-0.6), layer=69, texttype=5))
b3_gc_row_decoder_16_6fc.add(gdstk.Label('wwl_in_9', (29.435,-0.6), layer=69, texttype=5))
b3_gc_row_decoder_16_6fc.add(gdstk.Label('wwl_in_11', (35.295,-0.6), layer=69, texttype=5))
b3_gc_row_decoder_16_6fc.add(gdstk.Label('wwl_in_15', (47.015,-0.6), layer=69, texttype=5))
b3_gc_row_decoder_16_6fc.add(gdstk.Label('rwl_in_14', (44.085,-0.6), layer=69, texttype=5))
b3_gc_row_decoder_16_6fc.add(gdstk.Label('rwl_in_4', (12.22,-0.6), layer=69, texttype=5))
b3_gc_row_decoder_16_6fc.add(gdstk.Label('rwl_in_10', (32.365,-0.6), layer=69, texttype=5))

lib.write_gds('B3_gc_row_decoder_16_6fc940283c1f5c64.gds')
